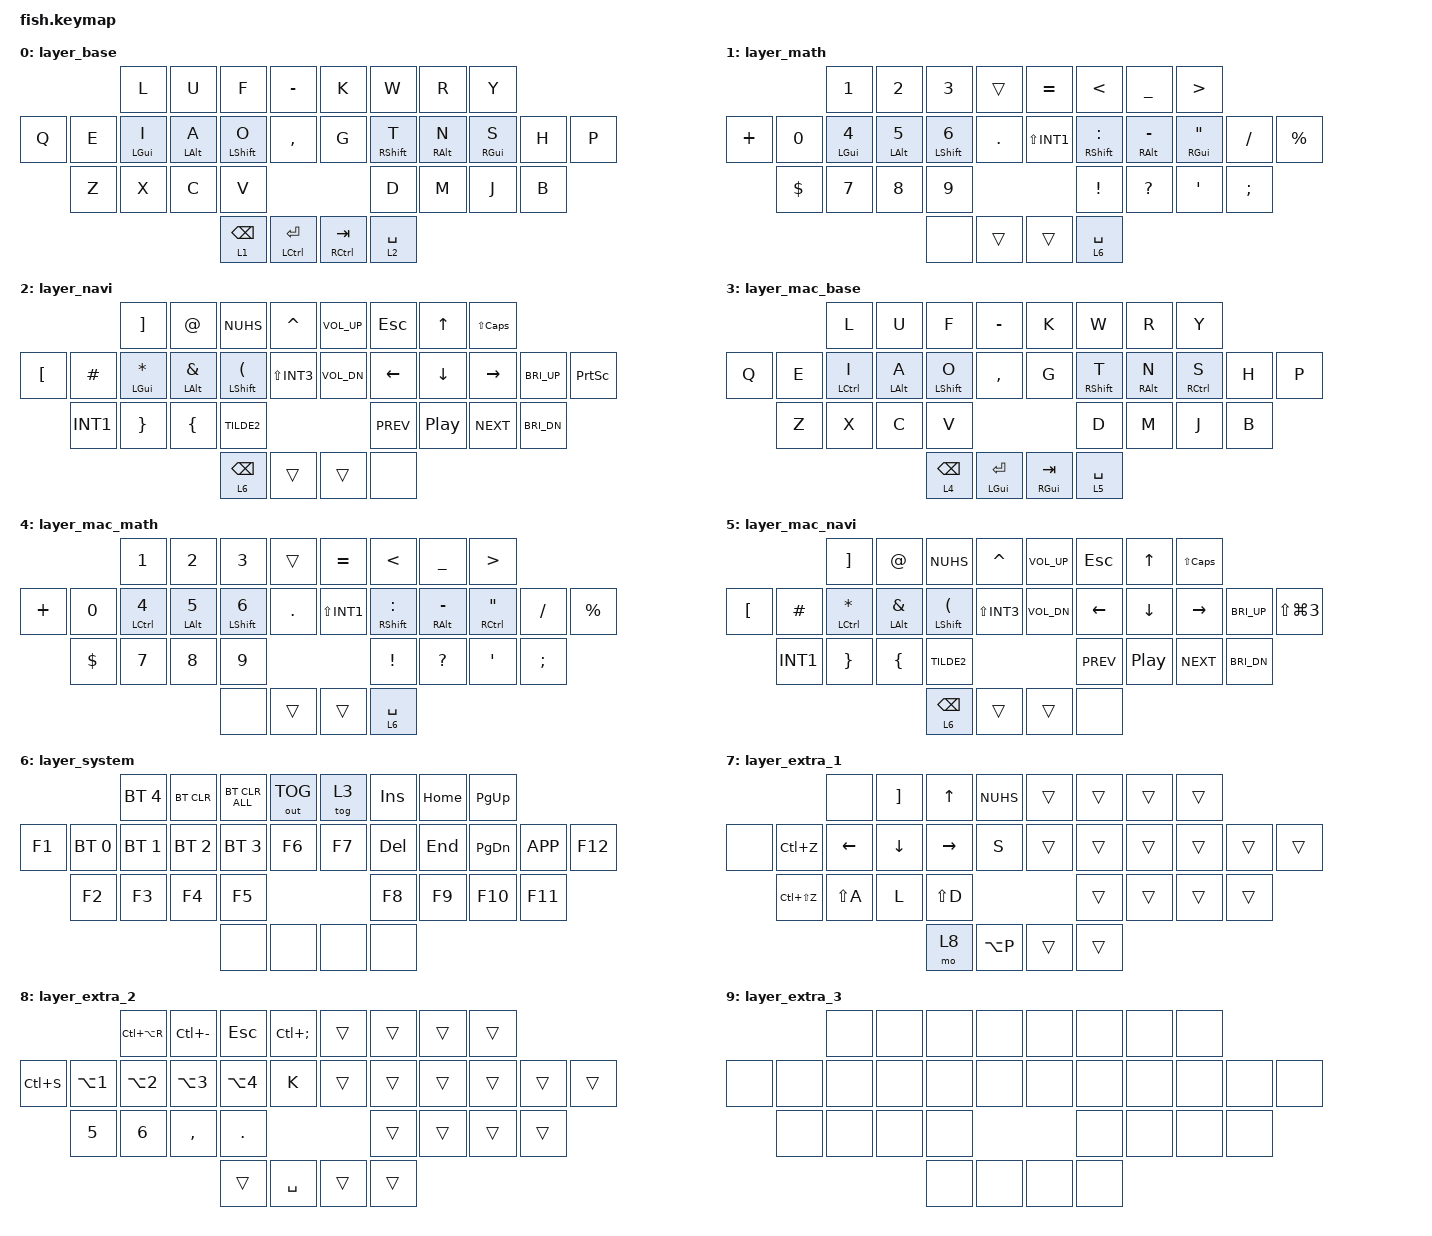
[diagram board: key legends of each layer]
// デフォルトキーマップ（大西配列、Win優先、JIS方式）
// ＋ お絵描きレイヤー（Umoupen優先、左手親機単体で使用可）
// キーマップを更新する方法は https://o24.works/fish/guide を参照
// 視覚的に編集するには https://o24.works/fish/editor を参照


// 定義を呼んでくる
#include <behaviors.dtsi>
#include <dt-bindings/zmk/keys.h>
#include <dt-bindings/zmk/mouse.h>
#include <dt-bindings/zmk/bt.h>
#include <dt-bindings/zmk/outputs.h>
#include <dt-bindings/zmk/pointing.h>


// 特殊入力の挙動を調整できる

&mt {
    flavor = "tap-preferred";
    tapping-term-ms = <225>;
    quick-tap-ms = <200>;
    require-prior-idle-ms = <150>;
};

&lt {
    flavor = "balanced";
    tapping-term-ms = <175>;
    quick-tap-ms = <200>;
};

&sk {
};

&sl {
};

&caps_word {
};

&key_repeat {
};


/ {
    // 独自の入力を定義できる（上級者向け）

    behaviors {
    };

    macros {
    };

    conditional_layers {
    };


    // 複数キーの同時押しに特別の入力を設定できる
    // キー番号早見表：
    //       0  1  2  3     4  5  6  7
    // 8  9 10 11 12 13    14 15 16 17 18 19
    //   20 21 22 23          24 25 26 27
    //            28 29    30 31

    combos {
        compatible = "zmk,combos";
        timeout-ms = <100>;
        require-prior-idle-ms = <150>;

        combo_lang2 {
            key-positions = <11 12>;
            bindings = <&kp LANG2>;
        };

        combo_lang1 {
            key-positions = <15 16>;
            bindings = <&kp LANG1>;
        };

        combo_reset_L {
            key-positions = <3 8 13>;
            bindings = <&bootloader>;
        };

        combo_reset_R {
            key-positions = <4 14 19>;
            bindings = <&bootloader>;
        };

        combo_studio_unlock {
            key-positions = <20 21 22 23>;
            bindings = <&studio_unlock>;
        };

        // お絵描きレイヤー（7）のオン／オフ：左手の0番＋8番（通常配列ではL＋Q）
        combo_paint {
            key-positions = <0 8>;
            bindings = <&tog 7>;
        };
    };
    

    // キーに入力を割り当てる
    // 型（&...）は https://zmk.dev/docs/behaviors/... を参照
    // キーコードは https://zmk.dev/docs/codes/... を参照

    keymap {
        compatible = "zmk,keymap";

        layer_base {
            bindings = <
                        &kp L       &kp U       &kp F       &kp MINUS           &kp K       &kp W       &kp R       &kp Y       
&kp Q       &kp E       &mt LGUI I  &mt LALT A  &mt LSHFT O &kp COMMA           &kp G       &mt RSHFT T &mt RALT N  &mt RGUI S  &kp H       &kp P       
            &kp Z       &kp X       &kp C       &kp V                                       &kp D       &kp M       &kp J       &kp B       
                                                &lt 1 BSPC  &mt LCTRL RET       &mt RCTRL TAB &lt 2 SPACE 
            >;
        };

        layer_math {
            bindings = <
                        &kp N1      &kp N2      &kp N3      &trans              &kp EQUAL   &kp LT      &kp UNDER   &kp GT      
&kp PLUS    &kp N0      &mt LGUI N4 &mt LALT N5 &mt LSHFT N6 &kp DOT            &kp LS(INT1) &mt RSHFT COLON &mt RALT MINUS &mt RGUI DQT &kp FSLH &kp PRCNT 
            &kp DLLR    &kp N7      &kp N8      &kp N9                                      &kp EXCL    &kp QMARK   &kp SQT     &kp SEMI    
                                                &none       &trans              &trans      &lt 6 SPACE 
            >;
        };

        layer_navi {
            bindings = <
                        &kp RBKT    &kp AT      &kp NUHS    &kp CARET           &kp C_VOL_UP &kp ESC    &kp UP      &kp LS(CAPS) 
&kp LBKT    &kp HASH    &mt LGUI STAR &mt LALT AMPS &mt LSHFT LPAR &kp LS(INT3) &kp C_VOL_DN &kp LEFT   &kp DOWN    &kp RIGHT   &kp C_BRI_UP &kp PSCRN  
            &kp INT1    &kp RBRC    &kp LBRC    &kp TILDE2                                  &kp C_PREV  &kp C_PP    &kp C_NEXT  &kp C_BRI_DN 
                                                &lt 6 BSPC  &trans              &trans      &none       
            >;
        };

        layer_mac_base {
            bindings = <
                        &kp L       &kp U       &kp F       &kp MINUS           &kp K       &kp W       &kp R       &kp Y       
&kp Q       &kp E       &mt LCTRL I &mt LALT A  &mt LSHFT O &kp COMMA           &kp G       &mt RSHFT T &mt RALT N  &mt RCTRL S &kp H       &kp P       
            &kp Z       &kp X       &kp C       &kp V                                       &kp D       &kp M       &kp J       &kp B       
                                                &lt 4 BSPC  &mt LGUI RET        &mt RGUI TAB &lt 5 SPACE 
            >;
        };

        layer_mac_math {
            bindings = <
                        &kp N1      &kp N2      &kp N3      &trans              &kp EQUAL   &kp LT      &kp UNDER   &kp GT      
&kp PLUS    &kp N0      &mt LCTRL N4 &mt LALT N5 &mt LSHFT N6 &kp DOT           &kp LS(INT1) &mt RSHFT COLON &mt RALT MINUS &mt RCTRL DQT &kp FSLH &kp PRCNT 
            &kp DLLR    &kp N7      &kp N8      &kp N9                                      &kp EXCL    &kp QMARK   &kp SQT     &kp SEMI    
                                                &none       &trans              &trans      &lt 6 SPACE 
            >;
        };

        layer_mac_navi {
            bindings = <
                        &kp RBKT    &kp AT      &kp NUHS    &kp CARET           &kp C_VOL_UP &kp ESC    &kp UP      &kp LS(CAPS) 
&kp LBKT    &kp HASH    &mt LCTRL STAR &mt LALT AMPS &mt LSHFT LPAR &kp LS(INT3) &kp C_VOL_DN &kp LEFT  &kp DOWN    &kp RIGHT   &kp C_BRI_UP &kp LS(LG(N3)) 
            &kp INT1    &kp RBRC    &kp LBRC    &kp TILDE2                                  &kp C_PREV  &kp C_PP    &kp C_NEXT  &kp C_BRI_DN 
                                                &lt 6 BSPC  &trans              &trans      &none       
            >;
        };

        layer_system {
            bindings = <
                        &bt BT_SEL 4 &bt BT_CLR &bt BT_CLR_ALL &out OUT_TOG     &tog 3      &kp INS     &kp HOME    &kp PG_UP   
&kp F1      &bt BT_SEL 0 &bt BT_SEL 1 &bt BT_SEL 2 &bt BT_SEL 3 &kp F6          &kp F7      &kp DEL     &kp END     &kp PG_DN   &kp K_APP   &kp F12     
            &kp F2      &kp F3      &kp F4      &kp F5                                      &kp F8      &kp F9      &kp F10     &kp F11     
                                                &none       &none               &none       &none       
            >;
        };

        // レイヤー7：お絵描き（Umoupen優先・JIS方式）
        //   上段：  ―   [ブラシ小  ↑レイヤー  ]ブラシ大
        //   中段：― 戻る  ←コマ  ↓レイヤー  →コマ  S色切替
        //   下段：  進む  回転左  オニオンスキン切替(L)  回転右
        //   親指：  押す間サブ  カメラから再生(Alt+P)
        //   右手は通常配列のまま（子機の電源が入っていれば文字入力可）
        layer_extra_1 {
            bindings = <
                        &none       &kp RBKT    &kp UP      &kp NUHS            &trans      &trans      &trans      &trans
&none       &kp LC(Z)   &kp LEFT    &kp DOWN    &kp RIGHT   &kp S               &trans      &trans      &trans      &trans      &trans      &trans 
            &kp LC(LS(Z)) &kp LS(A) &kp L       &kp LS(D)                                   &trans      &trans      &trans      &trans
                                                &mo 8       &kp LA(P)           &trans      &trans       
            >;
        };

        // レイヤー8：お絵描きサブ（親指28を押している間）
        //   上段：  回転リセット  ズーム−  Esc  ズーム＋（Ctrl+;）
        //   中段：保存  Alt1  Alt2  Alt3  Alt4  フレームをマーク(K)
        //   下段：  前のマーク(5)  次のマーク(6)  前のオニオン(,)  次のオニオン(.)
        //   親指：  （押している）  Space再生停止
        layer_extra_2 {
            bindings = <
                        &kp LC(LA(R)) &kp LC(MINUS) &kp ESC   &kp LC(SEMI)        &trans      &trans      &trans      &trans
&kp LC(S)   &kp LA(N1)  &kp LA(N2)  &kp LA(N3)  &kp LA(N4)  &kp K               &trans      &trans      &trans      &trans      &trans      &trans 
            &kp N5      &kp N6      &kp COMMA   &kp DOT                                     &trans      &trans      &trans      &trans
                                                &trans      &kp SPACE           &trans      &trans       
            >;
        };

        layer_extra_3 {
            bindings = <
                        &none       &none       &none       &none               &none       &none       &none       &none
&none       &none       &none       &none       &none       &none               &none       &none       &none       &none       &none       &none 
            &none       &none       &none       &none                                       &none       &none       &none       &none
                                                &none       &none               &none       &none       
            >;
        };
    };
};
